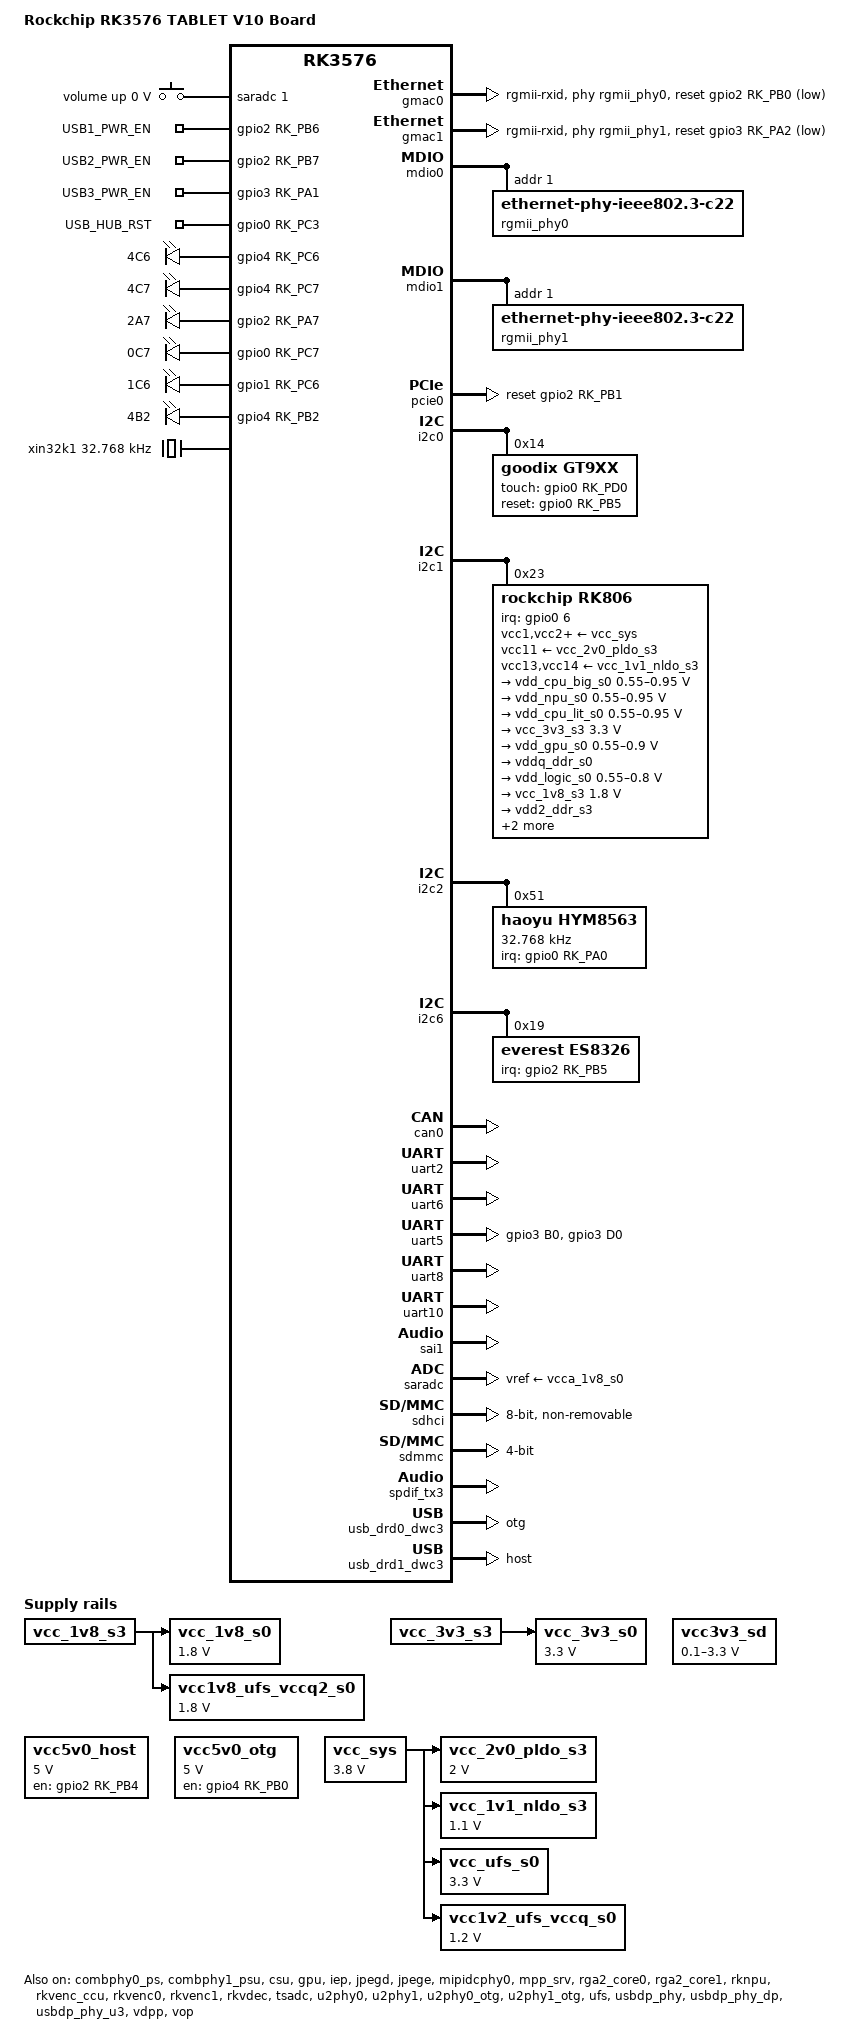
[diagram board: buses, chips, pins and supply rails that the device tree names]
// SPDX-License-Identifier: (GPL-2.0+ OR MIT)
/*
 * Copyright (c) 2024 Rockchip Electronics Co., Ltd.
 *
 */

/dts-v1/;

#include <dt-bindings/gpio/gpio.h>
#include <dt-bindings/pwm/pwm.h>
#include <dt-bindings/pinctrl/rockchip.h>
#include <dt-bindings/input/rk-input.h>
#include <dt-bindings/display/drm_mipi_dsi.h>
#include <dt-bindings/display/rockchip_vop.h>
#include <dt-bindings/sensor-dev.h>
#include <dt-bindings/usb/pd.h>
#include "rk3576.dtsi"
#include "rk3576-linux.dtsi"
#include "screen-timing/k1pro_som_edge/panel-hdmi.dtsi"
#include "screen-timing/k1pro_som_edge/panel-dsi-1024x600-HKBY.dtsi"

/ {
	model = "Rockchip RK3576 TABLET V10 Board";
	compatible = "rockchip,rk3576-tablet-v10", "rockchip,rk3576";

	adc_keys: adc-keys {
		compatible = "adc-keys";
		io-channels = <&saradc 1>;
		io-channel-names = "buttons";
		keyup-threshold-microvolt = <1800000>;
		poll-interval = <100>;

		vol-up-key {
			label = "volume up";
			linux,code = <KEY_VOLUMEUP>;
			press-threshold-microvolt = <150>;
		};
	};

	leds {
                compatible = "gpio-leds";
                status = "okay";
		USB1_PWR_EN {
                        gpios = <&gpio2 RK_PB6 GPIO_ACTIVE_HIGH>;
                        default-state = "on";
                };

		USB2_PWR_EN {
                        gpios = <&gpio2 RK_PB7 GPIO_ACTIVE_HIGH>;
                        default-state = "on";
                };

		USB3_PWR_EN {
                        gpios = <&gpio3 RK_PA1 GPIO_ACTIVE_HIGH>;
                        default-state = "on";
                };

		USB_HUB_RST {
			gpios = <&gpio0 RK_PC3 GPIO_ACTIVE_HIGH>;
                        default-state = "on";
		};

		4C6 {
			gpios = <&gpio4 RK_PC6 GPIO_ACTIVE_HIGH>;
                        default-state = "on";
		};

		4C7 {
			gpios = <&gpio4 RK_PC7 GPIO_ACTIVE_HIGH>;
                        default-state = "on";
		};

		2A7 { //GPS WAKE UP
			gpios = <&gpio2 RK_PA7 GPIO_ACTIVE_HIGH>;
                        default-state = "on";
		};

		0C7 { //GPS RESET
			gpios = <&gpio0 RK_PC7 GPIO_ACTIVE_HIGH>;
                        default-state = "on";
		};

		1C6 { //5G reset
			gpios = <&gpio1 RK_PC6 GPIO_ACTIVE_HIGH>;
                        default-state = "off";
		};

		4B2 { //4G POWER ON
			gpios = <&gpio4 RK_PB2 GPIO_ACTIVE_HIGH>;
                        default-state = "on";
		};
	};

	vcc3v3_sd: vcc3v3-sd-regulator {
                compatible = "regulator-gpio";
                regulator-name = "vcc3v3_sd";
                regulator-min-microvolt = <100000>;
                regulator-max-microvolt = <3300000>;
                gpios = <&gpio0 RK_PB6 GPIO_ACTIVE_HIGH>;
                gpios-states = <0x1>;
                states = <100000 0x1
                          3300000 0x0>;
        };

	es8326_sound: es8326-sound {
                status = "okay";
                compatible = "rockchip,multicodecs-card";
                rockchip,card-name = "rockchip-es8326";
                rockchip,format = "i2s";
                rockchip,mclk-fs = <256>;
                rockchip,cpu = <&sai1>;
                rockchip,codec = <&es8326>;
                rockchip,audio-routing =
                "Headphone", "HPOL",
                "Headphone", "HPOR",
                "Headphone", "Headphone Power",
                "Headphone", "Headphone Power",
                "MIC1", "Headset Mic",
                "MIC2", "Main Mic";
        };

	vcc5v0_host: vcc5v0-host {
                compatible = "regulator-fixed";
                regulator-name = "vcc5v0_host";
                regulator-boot-on;
                regulator-always-on;
                regulator-min-microvolt = <5000000>;
                regulator-max-microvolt = <5000000>;
                enable-active-high;
                gpio = <&gpio2 RK_PB4 GPIO_ACTIVE_HIGH>;
                pinctrl-names = "default";
                pinctrl-0 = <&usb_host_pwren>;
        };


	vcc5v0_otg: vcc5v0-otg {
		compatible = "regulator-fixed";
		regulator-name = "vcc5v0_otg";
		regulator-min-microvolt = <5000000>;
		regulator-max-microvolt = <5000000>;
		enable-active-high;
		gpio = <&gpio4 RK_PB0 GPIO_ACTIVE_HIGH>;
		pinctrl-names = "default";
		pinctrl-0 = <&usb_otg0_pwren>;
	};

	test-power {
                status = "okay";
        };

	charge-animation {
		compatible = "rockchip,uboot-charge";
		rockchip,uboot-charge-on = <1>;
		rockchip,android-charge-on = <0>;
		rockchip,uboot-low-power-voltage = <3450>;
		rockchip,screen-on-voltage = <3500>;
		rockchip,uboot-exit-charge-level = <2>;
		rockchip,uboot-exit-charge-voltage = <3500>;
		rockchip,uboot-exit-charge-auto = <1>;
		status = "disabled";
	};

	vcc_sys: vcc-sys {
		compatible = "regulator-fixed";
		regulator-name = "vcc_sys";
		regulator-always-on;
		regulator-boot-on;
		regulator-min-microvolt = <3800000>;
		regulator-max-microvolt = <3800000>;
	};

	vcc_2v0_pldo_s3: vcc-2v0-pldo-s3 {
		compatible = "regulator-fixed";
		regulator-name = "vcc_2v0_pldo_s3";
		regulator-boot-on;
		regulator-always-on;
		regulator-min-microvolt = <2000000>;
		regulator-max-microvolt = <2000000>;
		vin-supply = <&vcc_sys>;
	};

	vcc_1v1_nldo_s3: vcc-1v1-nldo-s3 {
		compatible = "regulator-fixed";
		regulator-name = "vcc_1v1_nldo_s3";
		regulator-boot-on;
		regulator-always-on;
		regulator-min-microvolt = <1100000>;
		regulator-max-microvolt = <1100000>;
		vin-supply = <&vcc_sys>;
	};

	vcc_1v8_s0: vcc-1v8-s0 {
		compatible = "regulator-fixed";
		regulator-name = "vcc_1v8_s0";
		regulator-boot-on;
		regulator-always-on;
		regulator-min-microvolt = <1800000>;
		regulator-max-microvolt = <1800000>;
		vin-supply = <&vcc_1v8_s3>;
	};

	vcc_3v3_s0: vcc-3v3-s0 {
		compatible = "regulator-fixed";
		regulator-name = "vcc_3v3_s0";
		regulator-boot-on;
		regulator-always-on;
		regulator-min-microvolt = <3300000>;
		regulator-max-microvolt = <3300000>;
		vin-supply = <&vcc_3v3_s3>;
	};

	vcc_ufs_s0: vcc-ufs-s0 {
		compatible = "regulator-fixed";
		regulator-name = "vcc_ufs_s0";
		regulator-boot-on;
		regulator-always-on;
		regulator-min-microvolt = <3300000>;
		regulator-max-microvolt = <3300000>;
		vin-supply = <&vcc_sys>;
	};

	vcc1v8_ufs_vccq2_s0: vcc1v8-ufs-vccq2-s0 {
		compatible = "regulator-fixed";
		regulator-name = "vcc1v8_ufs_vccq2_s0";
		regulator-boot-on;
		regulator-always-on;
		regulator-min-microvolt = <1800000>;
		regulator-max-microvolt = <1800000>;
		vin-supply = <&vcc_1v8_s3>;
	};

	vcc1v2_ufs_vccq_s0: vcc1v2-ufs-vccq-s0 {
		compatible = "regulator-fixed";
		regulator-name = "vcc1v2_ufs_vccq_s0";
		regulator-boot-on;
		regulator-always-on;
		regulator-min-microvolt = <1200000>;
		regulator-max-microvolt = <1200000>;
		vin-supply = <&vcc_sys>;
	};

	xin32k1: xin32k1 {
                compatible = "fixed-clock";
                clock-frequency = <32768>;
                clock-output-names = "xin32k1";
                #clock-cells = <0>;
                pinctrl-names = "default";
                pinctrl-0 = <&clk1_32k_pins>;
        };
};

&gmac0 {
        /* Use rgmii-rxid mode to disable rx delay inside Soc */
        phy-mode = "rgmii-rxid";
        clock_in_out = "output";

        snps,reset-gpio = <&gpio2 RK_PB0 GPIO_ACTIVE_LOW>;
        snps,reset-active-low;
        /* Reset time is 20ms, 100ms for rtl8211f */
        snps,reset-delays-us = <0 50000 100000>;

        pinctrl-names = "default";
        pinctrl-0 = <&eth0m0_miim
                     &eth0m0_tx_bus2
                     &eth0m0_rx_bus2
                     &eth0m0_rgmii_clk
                     &eth0m0_rgmii_bus>;

        tx_delay = <0x21>;
        /* rx_delay = <0x3f>; */

        phy-handle = <&rgmii_phy0>;
        status = "okay";
};

&gmac1 {
        /* Use rgmii-rxid mode to disable rx delay inside Soc */
        phy-mode = "rgmii-rxid";
        clock_in_out = "output";

        snps,reset-gpio = <&gpio3 RK_PA2 GPIO_ACTIVE_LOW>;
        snps,reset-active-low;
        /* Reset time is 20ms, 100ms for rtl8211f */
        snps,reset-delays-us = <0 50000 100000>;

        pinctrl-names = "default";
        pinctrl-0 = <&eth1m0_miim
                     &eth1m0_tx_bus2
                     &eth1m0_rx_bus2
                     &eth1m0_rgmii_clk
                     &eth1m0_rgmii_bus>;

        tx_delay = <0x20>;
        //rx_delay = <0x4f>; 

        phy-handle = <&rgmii_phy1>;
        status = "okay";
};


&mdio0 {
        rgmii_phy0: phy@1 {
                compatible = "ethernet-phy-ieee802.3-c22";
                reg = <0x1>;
        };
};

&mdio1 {
        rgmii_phy1: phy@1 {
                compatible = "ethernet-phy-ieee802.3-c22";
                reg = <0x1>;
        };
};

&combphy0_ps {
	status = "okay";
};

&combphy1_psu {
        status = "okay";
};

&pcie0 {
        reset-gpios = <&gpio2 RK_PB1 GPIO_ACTIVE_HIGH>;
        status = "okay";
};

&cpu_l0 {
	cpu-supply = <&vdd_cpu_lit_s0>;
};

&cpu_b0 {
	cpu-supply = <&vdd_cpu_big_s0>;
};

&csu {
	status = "okay";
};

&gpu {
	mali-supply = <&vdd_gpu_s0>;
	status = "okay";
};

&i2c0 {
        status = "okay";
        pinctrl-names = "default";
        pinctrl-0 = <&i2c0m1_xfer>;

        gt9xx: gt9xx@14 {
                compatible = "goodix,gt9xx";
                reg = <0x14>;
                pinctrl-names = "default";
                pinctrl-0 = <&touch_gpio>;
                touch-gpio = <&gpio0 RK_PD0 IRQ_TYPE_LEVEL_HIGH>;
                reset-gpio = <&gpio0 RK_PB5 GPIO_ACTIVE_HIGH>;
                max-x = <1200>;
                max-y = <1920>;
                tp-size = <9110>;
        };
};

&i2c1 {
	status = "okay";

	rk806: pmic@23 {
		compatible = "rockchip,rk806";
		reg = <0x23>;

		interrupt-parent = <&gpio0>;
		interrupts = <6 IRQ_TYPE_LEVEL_LOW>;

		pinctrl-names = "default", "pmic-power-off";
		pinctrl-0 = <&pmic_pins>, <&rk806_dvs1_null>, <&rk806_dvs2_null>, <&rk806_dvs3_null>;
		pinctrl-1 = <&rk806_dvs1_pwrdn>;

		/* 2800mv-3500mv */
		low_voltage_threshold = <3000>;
		/* 2700mv-3400mv */
		shutdown_voltage_threshold = <2700>;
		/* 140 160 */
		shutdown_temperture_threshold = <160>;
		hotdie_temperture_threshold = <115>;

		/* PWRON_ON_TIME: 0:500mS; 1:20mS */
		pwron-on-time-500ms;

		/* 0: restart PMU;
		 * 1: reset all the power off reset registers,
		 *    forcing the state to switch to ACTIVE mode;
		 * 2: Reset all the power off reset registers,
		 *    forcing the state to switch to ACTIVE mode,
		 *    and simultaneously pull down the RESETB PIN for 5mS before releasing
		 */
		pmic-reset-func = <1>;
		/* buck5 external feedback resister disable */
		buck5-feedback-disable;

		vcc1-supply = <&vcc_sys>;
		vcc2-supply = <&vcc_sys>;
		vcc3-supply = <&vcc_sys>;
		vcc4-supply = <&vcc_sys>;
		vcc5-supply = <&vcc_sys>;
		vcc6-supply = <&vcc_sys>;
		vcc7-supply = <&vcc_sys>;
		vcc8-supply = <&vcc_sys>;
		vcc9-supply = <&vcc_sys>;
		vcc10-supply = <&vcc_sys>;
		vcc11-supply = <&vcc_2v0_pldo_s3>;
		vcc12-supply = <&vcc_sys>;
		vcc13-supply = <&vcc_1v1_nldo_s3>;
		vcc14-supply = <&vcc_1v1_nldo_s3>;
		vcca-supply = <&vcc_sys>;

		pwrkey {
			status = "okay";
		};

		pinctrl_rk806: pinctrl_rk806 {
			gpio-controller;
			#gpio-cells = <2>;

			rk806_dvs1_null: rk806_dvs1_null {
				pins = "gpio_pwrctrl2";
				function = "pin_fun0";
			};

			rk806_dvs1_slp: rk806_dvs1_slp {
				pins = "gpio_pwrctrl1";
				function = "pin_fun1";
			};

			rk806_dvs1_pwrdn: rk806_dvs1_pwrdn {
				pins = "gpio_pwrctrl1";
				function = "pin_fun2";
			};

			rk806_dvs1_rst: rk806_dvs1_rst {
				pins = "gpio_pwrctrl1";
				function = "pin_fun3";
			};

			rk806_dvs2_null: rk806_dvs2_null {
				pins = "gpio_pwrctrl2";
				function = "pin_fun0";
			};

			rk806_dvs2_slp: rk806_dvs2_slp {
				pins = "gpio_pwrctrl2";
				function = "pin_fun1";
			};

			rk806_dvs2_pwrdn: rk806_dvs2_pwrdn {
				pins = "gpio_pwrctrl2";
				function = "pin_fun2";
			};

			rk806_dvs2_rst: rk806_dvs2_rst {
				pins = "gpio_pwrctrl2";
				function = "pin_fun3";
			};

			rk806_dvs2_dvs: rk806_dvs2_dvs {
				pins = "gpio_pwrctrl2";
				function = "pin_fun4";
			};

			rk806_dvs2_gpio: rk806_dvs2_gpio {
				pins = "gpio_pwrctrl2";
				function = "pin_fun5";
			};

			rk806_dvs3_null: rk806_dvs3_null {
				pins = "gpio_pwrctrl3";
				function = "pin_fun0";
			};

			rk806_dvs3_slp: rk806_dvs3_slp {
				pins = "gpio_pwrctrl3";
				function = "pin_fun1";
			};

			rk806_dvs3_pwrdn: rk806_dvs3_pwrdn {
				pins = "gpio_pwrctrl3";
				function = "pin_fun2";
			};

			rk806_dvs3_rst: rk806_dvs3_rst {
				pins = "gpio_pwrctrl3";
				function = "pin_fun3";
			};

			rk806_dvs3_dvs: rk806_dvs3_dvs {
				pins = "gpio_pwrctrl3";
				function = "pin_fun4";
			};

			rk806_dvs3_gpio: rk806_dvs3_gpio {
				pins = "gpio_pwrctrl3";
				function = "pin_fun5";
			};
		};

		regulators {
			vdd_cpu_big_s0: DCDC_REG1 {
				regulator-always-on;
				regulator-boot-on;
				regulator-init-microvolt = <850000>;
				regulator-min-microvolt = <550000>;
				regulator-max-microvolt = <950000>;
				regulator-ramp-delay = <12500>;
				regulator-name = "vdd_cpu_big_s0";
				regulator-enable-ramp-delay = <400>;
				regulator-state-mem {
					regulator-off-in-suspend;
				};
			};

			vdd_npu_s0: DCDC_REG2 {
				regulator-always-on;
				regulator-boot-on;
				regulator-min-microvolt = <550000>;
				regulator-max-microvolt = <950000>;
				regulator-ramp-delay = <12500>;
				regulator-name = "vdd_npu_s0";
				regulator-state-mem {
					regulator-off-in-suspend;
				};
			};

			vdd_cpu_lit_s0: DCDC_REG3 {
				regulator-always-on;
				regulator-boot-on;
				regulator-init-microvolt = <850000>;
				regulator-min-microvolt = <550000>;
				regulator-max-microvolt = <950000>;
				regulator-ramp-delay = <12500>;
				regulator-name = "vdd_cpu_lit_s0";
				regulator-state-mem {
					regulator-off-in-suspend;
					regulator-suspend-microvolt = <750000>;
				};
			};

			vcc_3v3_s3: DCDC_REG4 {
				regulator-always-on;
				regulator-boot-on;
				regulator-min-microvolt = <3300000>;
				regulator-max-microvolt = <3300000>;
				regulator-name = "vcc_3v3_s3";
				regulator-state-mem {
					regulator-on-in-suspend;
					regulator-suspend-microvolt = <3300000>;
				};
			};

			vdd_gpu_s0: DCDC_REG5 {
				regulator-boot-on;
				regulator-init-microvolt = <750000>;
				regulator-min-microvolt = <550000>;
				regulator-max-microvolt = <900000>;
				regulator-ramp-delay = <12500>;
				regulator-name = "vdd_gpu_s0";
				regulator-enable-ramp-delay = <400>;
				regulator-state-mem {
					regulator-off-in-suspend;
					regulator-suspend-microvolt = <850000>;
				};
			};

			vddq_ddr_s0: DCDC_REG6 {
				regulator-always-on;
				regulator-boot-on;
				regulator-name = "vddq_ddr_s0";
				regulator-state-mem {
					regulator-off-in-suspend;
				};
			};

			vdd_logic_s0: vdd_log_mem_s0: DCDC_REG7 {
				regulator-always-on;
				regulator-boot-on;
				regulator-init-microvolt = <750000>;
				regulator-min-microvolt = <550000>;
				regulator-max-microvolt = <800000>;
				regulator-name = "vdd_logic_s0";
				regulator-state-mem {
					regulator-off-in-suspend;
				};
			};

			vcc_1v8_s3: DCDC_REG8 {
				regulator-always-on;
				regulator-boot-on;
				regulator-min-microvolt = <1800000>;
				regulator-max-microvolt = <1800000>;
				regulator-name = "vcc_1v8_s3";
				regulator-state-mem {
					regulator-on-in-suspend;
					regulator-suspend-microvolt = <1800000>;
				};
			};

			vdd2_ddr_s3: DCDC_REG9 {
				regulator-always-on;
				regulator-boot-on;
				regulator-name = "vdd2_ddr_s3";
				regulator-state-mem {
					regulator-on-in-suspend;
				};
			};

			vdd_ddr_s0: DCDC_REG10 {
				regulator-always-on;
				regulator-boot-on;
				regulator-min-microvolt = <550000>;
				regulator-max-microvolt = <1200000>;
				regulator-name = "vdd_ddr_s0";
				regulator-state-mem {
					regulator-off-in-suspend;
				};
			};

			vcca_1v8_s0: PLDO_REG1 {
				regulator-always-on;
				regulator-boot-on;
				regulator-min-microvolt = <1800000>;
				regulator-max-microvolt = <1800000>;
				regulator-name = "vcca_1v8_s0";
				regulator-state-mem {
					regulator-off-in-suspend;
				};
			};

			vcc_1v8_cam: PLDO_REG2 {
				regulator-boot-on;
				regulator-always-on;
				regulator-min-microvolt = <1800000>;
				regulator-max-microvolt = <1800000>;
				regulator-name = "vcc_1v8_cam";
				regulator-state-mem {
					regulator-off-in-suspend;
				};
			};

			vdda_1v2_s0: PLDO_REG3 {
				regulator-always-on;
				regulator-boot-on;
				regulator-min-microvolt = <1200000>;
				regulator-max-microvolt = <1200000>;
				regulator-name = "vdda_1v2_s0";
				regulator-state-mem {
					regulator-off-in-suspend;
				};
			};

			vcca3v3_codec: PLDO_REG4 {
				regulator-always-on;
				regulator-boot-on;
				regulator-min-microvolt = <3300000>;
				regulator-max-microvolt = <3300000>;
				regulator-name = "vcca3v3_codec";
				regulator-state-mem {
					regulator-off-in-suspend;
				};
			};

			vccio_sd_s0: PLDO_REG5 {
				regulator-always-on;
				regulator-boot-on;
				regulator-min-microvolt = <1800000>;
				regulator-max-microvolt = <3300000>;
				regulator-name = "vccio_sd_s0";
				regulator-state-mem {
					regulator-off-in-suspend;
				};
			};

			vcca1v8_pldo6_s3: PLDO_REG6 {
				regulator-always-on;
				regulator-boot-on;
				regulator-min-microvolt = <1800000>;
				regulator-max-microvolt = <1800000>;
				regulator-name = "vcca1v8_pldo6_s3";
				regulator-state-mem {
					regulator-on-in-suspend;
					regulator-suspend-microvolt = <1800000>;
				};
			};

			vdd_0v75_s3: NLDO_REG1 {
				regulator-always-on;
				regulator-boot-on;
				regulator-min-microvolt = <750000>;
				regulator-max-microvolt = <750000>;
				regulator-name = "vdd_0v75_s3";
				regulator-state-mem {
					regulator-on-in-suspend;
					regulator-suspend-microvolt = <750000>;
				};
			};

			vdda_ddr_pll_s0: NLDO_REG2 {
				regulator-always-on;
				regulator-boot-on;
				regulator-min-microvolt = <850000>;
				regulator-max-microvolt = <850000>;
				regulator-name = "vdda_ddr_pll_s0";
				regulator-state-mem {
					regulator-off-in-suspend;
				};
			};

			vdda0v75_hdmi_s0: NLDO_REG3 {
				regulator-always-on;
				regulator-boot-on;
				regulator-min-microvolt = <750000>;
				regulator-max-microvolt = <750000>;
				regulator-name = "vdda0v75_hdmi_s0";
				regulator-state-mem {
					regulator-off-in-suspend;
				};
			};

			vdda_0v85_s0: NLDO_REG4 {
				regulator-always-on;
				regulator-boot-on;
				regulator-min-microvolt = <850000>;
				regulator-max-microvolt = <850000>;
				regulator-name = "vdda_0v85_s0";
				regulator-state-mem {
					regulator-off-in-suspend;
				};
			};

			vdda_0v75_s0: NLDO_REG5 {
				regulator-always-on;
				regulator-boot-on;
				regulator-min-microvolt = <750000>;
				regulator-max-microvolt = <750000>;
				regulator-name = "vdda_0v75_s0";
				regulator-state-mem {
					regulator-off-in-suspend;
				};
			};
		};
	};
};

&i2c2 {
	status = "okay";

	hym8563: hym8563@51 {
                compatible = "haoyu,hym8563";
                reg = <0x51>;
                #clock-cells = <0>;
                clock-frequency = <32768>;
                clock-output-names = "hym8563";
                pinctrl-names = "default";
                pinctrl-0 = <&rtc_int>;

                interrupt-parent = <&gpio0>;
                interrupts = <RK_PA0 IRQ_TYPE_LEVEL_LOW>;
                wakeup-source;
                status = "okay";
        };
};

&i2c6 {
        status = "okay";
        pinctrl-names = "default";
        pinctrl-0 = <&i2c6m1_xfer>;

        es8326: es8326@19 {
                status = "okay";
                #sound-dai-cells = <0>;
                compatible = "everest,es8326";
                reg = <0x19>;
                interrupt-parent = <&gpio2>;
                interrupts = <RK_PB5 IRQ_TYPE_LEVEL_LOW>;
                clocks = <&mclkout_sai1>;
                clock-names = "mclk";
                assigned-clocks = <&mclkout_sai1>;
                assigned-clock-rates = <12288000>;
                pinctrl-names = "default";
                pinctrl-0 = <&sai1m0_mclk>;
                mclk-rate = <12288000>;
                everest,mic1-src = [55];
                everest,mic2-src = [55];
                jack-pol = [0e];
        };
};

&can0 {
        assigned-clocks = <&cru CLK_CAN0>;
        assigned-clock-rates = <200000000>;
        pinctrl-names = "default";
        pinctrl-0 = <&can0m3_pins>;
        status = "okay";
};

&iep {
	status = "okay";
};

&iep_mmu {
	status = "okay";
};

&jpegd {
	status = "okay";
};

&jpege {
	status = "okay";
};

&jpeg_mmu {
	status = "okay";
};

&mipidcphy0 {
	status = "okay";
};

&mpp_srv {
	status = "okay";
};

&pinctrl {
	charger {
		charger_ok: charger_ok {
			rockchip,pins =
				<0 RK_PD2 RK_FUNC_GPIO &pcfg_pull_up>,
				<2 RK_PC7 RK_FUNC_GPIO &pcfg_pull_up>;
		};
	};

	headphone {
		hp_det: hp-det {
			rockchip,pins = <2 RK_PD3 RK_FUNC_GPIO &pcfg_pull_up>;
		};
	};

	hym8563 {
		rtc_int: rtc-int {
			rockchip,pins = <0 RK_PA0 RK_FUNC_GPIO &pcfg_pull_up>;
		};
	};

	lcd {
		lcd_rst_gpio: lcd-rst-gpio {
			rockchip,pins = <0 RK_PC7 RK_FUNC_GPIO &pcfg_pull_none>;
		};

		lcd_enable_gpio: lcd-enable-gpio {
			rockchip,pins = <0 RK_PC6 RK_FUNC_GPIO &pcfg_pull_none>;
		};
		backlight_pwren: backlight-pwren {
			rockchip,pins = <2 RK_PB1 RK_FUNC_GPIO &pcfg_pull_none>;
		};
		backlight_edp_pwren: backlight-edp-pwren {
			rockchip,pins = <2 RK_PB5 RK_FUNC_GPIO &pcfg_pull_none>;
		};
	};

	touch {
		touch_gpio: touch-gpio {
			rockchip,pins =
				<0 RK_PD0 RK_FUNC_GPIO &pcfg_pull_up>,
				<0 RK_PB5 RK_FUNC_GPIO &pcfg_pull_up>;
		};
	};

	tp {
                tp_gpio: tp-gpio {
                        rockchip,pins =
                                <0 RK_PC5 RK_FUNC_GPIO &pcfg_pull_down>,
                                <0 RK_PD0 RK_FUNC_GPIO &pcfg_pull_up>;
                };
        };

	usb {
		usbc0_int: usbc0-int {
			rockchip,pins = <0 RK_PD1 RK_FUNC_GPIO &pcfg_pull_up>;
		};

		usb_host_pwren: usb-host-pwren {
                        rockchip,pins = <2 RK_PB4 RK_FUNC_GPIO &pcfg_pull_none>;
                };	

		usb_otg0_pwren: usb-otg0-pwren {
			rockchip,pins = <4 RK_PB0 RK_FUNC_GPIO &pcfg_pull_none>;
		};

		usb_pwren: usb-pwren {
			rockchip,pins = <0 RK_PD3 RK_FUNC_GPIO &pcfg_pull_none>;
		};
	};

	wireless-bluetooth {
		uart4_gpios: uart4-gpios {
			rockchip,pins = <1 RK_PC2 RK_FUNC_GPIO &pcfg_pull_none>;
		};
	};

	wireless-wlan {
		wifi_host_wake_irq: wifi-host-wake-irq {
			rockchip,pins = <0 RK_PB0 RK_FUNC_GPIO &pcfg_pull_down>;
		};

		wifi_poweren_gpio: wifi-poweren-gpio {
			rockchip,pins = <1 RK_PC6 RK_FUNC_GPIO &pcfg_pull_up>;
		};

		wifi_vbat_pwren: wifi-vbat-pwren {
			rockchip,pins = <0 RK_PC4 RK_FUNC_GPIO &pcfg_pull_up>;
		};

		amp_pwren: amp-pwren {
			rockchip,pins = <4 RK_PC5 RK_FUNC_GPIO &pcfg_pull_up>;
		};
	};

	chare_led {
                chg_led:chg-led {
                        rockchip,pins =
                                <2 RK_PC5 RK_FUNC_GPIO &pcfg_pull_none>,
                                <2 RK_PC6 RK_FUNC_GPIO &pcfg_pull_none>;
                };
        };

	uart_gpio {
		uart_485_gpio:uart-485-gpio {
			rockchip,pins = <3 RK_PB0 RK_FUNC_GPIO &pcfg_pull_up>,
					<3 RK_PD0 RK_FUNC_GPIO &pcfg_pull_up>;
		};
	};
};

&uart2 {
       status = "okay";
       pinctrl-names = "default";
       pinctrl-0 = <&uart2m1_xfer>;
};

&uart6 {
       status = "okay";
       pinctrl-names = "default";
       pinctrl-0 = <&uart6m3_xfer>;
};

&uart5 { //485
       status = "okay";
       pinctrl-names = "default";
       pinctrl-0 = <&uart5m0_xfer &uart_485_gpio>;
       rs485-de-gpios = <&gpio3 RK_PB0 GPIO_ACTIVE_HIGH>;
       linux,rs485-enabled-at-boot-time;
       rs485-rts-active-low;	
};

&uart8 { //485
       status = "okay";
       pinctrl-names = "default";
       pinctrl-0 = <&uart8m0_xfer>;
       rs485-de-gpios = <&gpio3 RK_PD0 GPIO_ACTIVE_HIGH>;
       linux,rs485-enabled-at-boot-time;
       rs485-rts-active-low;
};

&uart10 { //GPS 
       status = "okay";
       pinctrl-names = "default";
       pinctrl-0 = <&uart10m2_xfer>;
};

&rga2_core0 {
	status = "okay";
};

&rga2_core0_mmu {
	status = "okay";
};

&rga2_core1 {
	status = "okay";
};

&rga2_core1_mmu {
	status = "okay";
};

&rknpu {
	rknpu-supply = <&vdd_npu_s0>;
	status = "okay";
};

&rknpu_mmu {
	status = "okay";
};

&rkvenc_ccu {
	status = "okay";
};

&rkvenc0 {
	status = "okay";
};

&rkvenc0_mmu {
	status = "okay";
};

&rkvenc1 {
	status = "okay";
};

&rkvenc1_mmu {
	status = "okay";

};

&rkvdec {
	status = "okay";
};

&rkvdec_mmu {
	status = "okay";
};

&rockchip_suspend {
	status = "okay";
	rockchip,sleep-debug-en = <1>;

	rockchip,sleep-io-ret-config = <
		(0
		| RKPM_VCCIO3_RET_EN
		)
	>;
};

&sai1 {
        status = "okay";
        pinctrl-names = "default";
        pinctrl-0 = <&sai1m0_lrck
                     &sai1m0_sclk
                     &sai1m0_sdi0
                     &sai1m0_sdo2>;
};

&saradc {
	status = "okay";
	vref-supply = <&vcca_1v8_s0>;
};

&sdhci {
	bus-width = <8>;
	no-sdio;
	no-sd;
	non-removable;
	max-frequency = <200000000>;
	mmc-hs400-1_8v;
	mmc-hs400-enhanced-strobe;
	full-pwr-cycle-in-suspend;
	status = "okay";
};

&sdmmc {
	max-frequency = <200000000>;
	no-sdio;
	no-mmc;
	bus-width = <4>;
	cap-mmc-highspeed;
	cap-sd-highspeed;
	disable-wp;
	sd-uhs-sdr104;
	mmc-supply = <&vcc3v3_sd>;
	vqmmc-supply = <&vccio_sd_s0>;
	status = "okay";
};

&spdif_tx3 {
	status = "okay";
};

&tsadc {
	status = "okay";
};

&u2phy0 {
	status = "okay";
};

&u2phy1 {
        status = "okay";
};

&u2phy0_otg {
	status = "okay";
	vbus-supply = <&vcc5v0_otg>;
};

&u2phy1_otg {
	phy-supply = <&vcc5v0_host>;
        status = "okay";
};

&ufs {
	reset-gpios = <&gpio4 RK_PD0 GPIO_ACTIVE_HIGH>;
	status = "okay";
};

&usbdp_phy {
        rockchip,dp-lane-mux = <2 3>;
        status = "okay";
};

&usbdp_phy_dp {
        status = "okay";
};

&usbdp_phy_u3 {
        status = "okay";
};

&usb_drd0_dwc3 {
	status = "okay";
	dr_mode = "otg";
	extcon = <&u2phy0>;
};

&usb_drd1_dwc3 {
	status = "okay";
	dr_mode = "host";
};

&vdpp {
	status = "okay";
};

&vop {
	status = "okay";
	vop-supply = <&vdd_logic_s0>;
};

&vop_mmu {
	status = "okay";
};

&vp1 {
	assigned-clocks = <&cru DCLK_VP1_SRC>;
	assigned-clock-parents = <&cru PLL_VPLL>;
};
